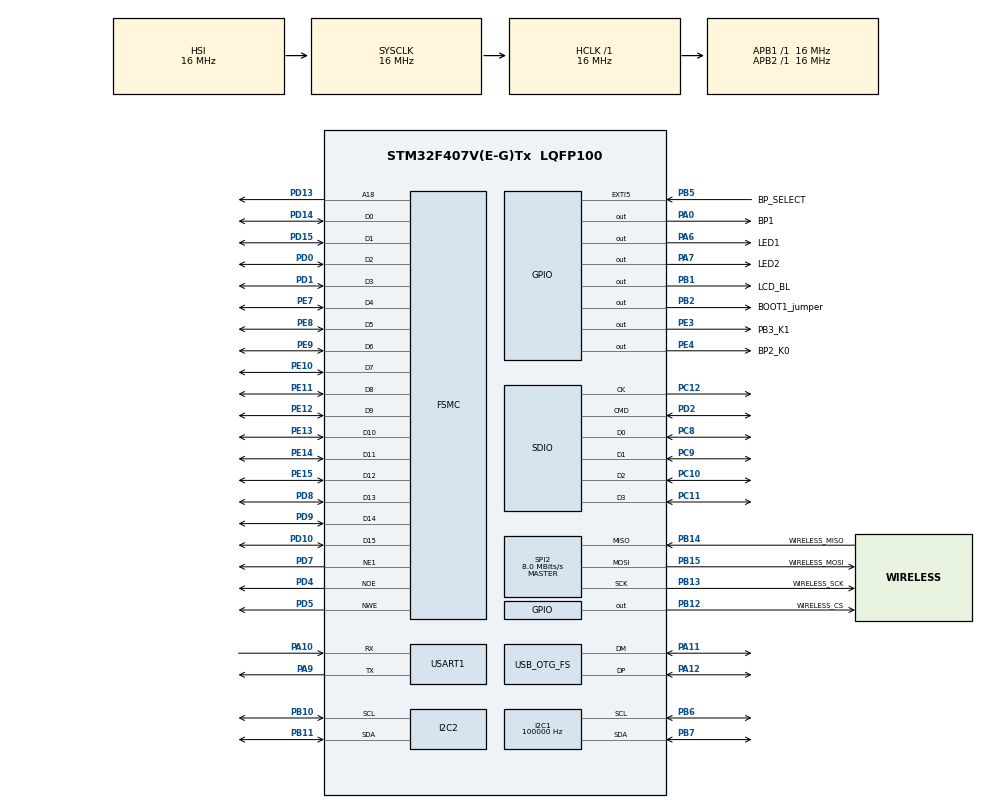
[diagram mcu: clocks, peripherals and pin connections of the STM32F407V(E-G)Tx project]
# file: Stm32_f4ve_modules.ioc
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FATFS.USE_DMA_CODE_SD=1
FREERTOS.Tasks01=Module_AM2320,24,128,Start_Module_AM2320,Default,NULL,Dynamic,NULL,NULL;Module_main,40,128,Start_Module_main,Default,NULL,Dynamic,NULL,NULL;Module_display,8,128,Start_Module_display,Default,NULL,Dynamic,NULL,NULL;Module_SMBUS,8,128,Start_Module_SMBUS,Default,NULL,Dynamic,NULL,NULL;Module_wireless,8,128,Start_Module_wireless,Default,NULL,Dynamic,NULL,NULL
FREERTOS.configUSE_NEWLIB_REENTRANT=1
I2C1.ClockSpeed=100000
Mcu.Family=STM32F4
Mcu.Name=STM32F407V(E-G)Tx
Mcu.Package=LQFP100
NVIC.EXTI9_5_IRQn=true\:5\:0\:false\:false\:true\:true\:true\:true\:true
NVIC.PriorityGroup=NVIC_PRIORITYGROUP_4
NVIC.SDIO_IRQn=true\:5\:0\:false\:false\:true\:true\:true\:true\:true
NVIC.TIM7_IRQn=true\:15\:0\:false\:false\:true\:false\:false\:true\:true
NVIC.TimeBase=TIM7_IRQn
NVIC.TimeBaseIP=TIM7
PA0-WKUP.GPIO_Label=BP1
PA0-WKUP.Signal=GPIO_Output
PA10.Mode=Asynchronous
PA10.Signal=USART1_RX
PA11.Mode=Device_Only
PA11.Signal=USB_OTG_FS_DM
PA12.Mode=Device_Only
PA12.Signal=USB_OTG_FS_DP
PA13.Mode=JTAG_5_pins
PA13.Signal=SYS_JTMS-SWDIO
PA14.Mode=JTAG_5_pins
PA14.Signal=SYS_JTCK-SWCLK
PA15.Mode=JTAG_5_pins
PA15.Signal=SYS_JTDI
PA6.GPIO_Label=LED1
PA6.Signal=GPIO_Output
PA7.GPIO_Label=LED2
PA7.Signal=GPIO_Output
PA9.Mode=Asynchronous
PA9.Signal=USART1_TX
PB1.GPIO_Label=LCD_BL
PB1.Signal=GPIO_Output
PB10.Mode=I2C
PB10.Signal=I2C2_SCL
PB11.Mode=I2C
PB11.Signal=I2C2_SDA
PB12.GPIO_Label=WIRELESS_CS
PB12.Signal=GPIO_Output
PB13.GPIO_Label=WIRELESS_SCK
PB13.Mode=Full_Duplex_Master
PB13.Signal=SPI2_SCK
PB14.GPIO_Label=WIRELESS_MISO
PB14.Mode=Full_Duplex_Master
PB14.Signal=SPI2_MISO
PB15.GPIO_Label=WIRELESS_MOSI
PB15.Mode=Full_Duplex_Master
PB15.Signal=SPI2_MOSI
PB2.GPIO_Label=BOOT1_jumper
PB2.Signal=GPIO_Output
PB3.Mode=JTAG_5_pins
PB3.Signal=SYS_JTDO-SWO
PB4.Mode=JTAG_5_pins
PB4.Signal=SYS_JTRST
PB5.GPIO_Label=BP_SELECT
PB5.GPIO_ModeDefaultEXTI=GPIO_MODE_IT_RISING
PB5.GPIO_PuPd=GPIO_PULLDOWN
PB5.Signal=GPXTI5
PB6.Mode=I2C
PB6.Signal=I2C1_SCL
PB7.Mode=I2C
PB7.Signal=I2C1_SDA
PC10.Mode=SD_4_bits_Wide_bus
PC10.Signal=SDIO_D2
PC11.Mode=SD_4_bits_Wide_bus
PC11.Signal=SDIO_D3
PC12.Mode=SD_4_bits_Wide_bus
PC12.Signal=SDIO_CK
PC14-OSC32_IN.Mode=LSE-External-Oscillator
PC14-OSC32_IN.Signal=RCC_OSC32_IN
PC15-OSC32_OUT.Mode=LSE-External-Oscillator
PC15-OSC32_OUT.Signal=RCC_OSC32_OUT
PC8.Mode=SD_4_bits_Wide_bus
PC8.Signal=SDIO_D0
PC9.Mode=SD_4_bits_Wide_bus
PC9.Signal=SDIO_D1
PD0.Mode=16b-d1
PD0.Signal=FSMC_D2
PD1.Mode=16b-d1
PD1.Signal=FSMC_D3
PD10.Mode=16b-d1
PD10.Signal=FSMC_D15
PD13.Mode=A18_1
PD13.Signal=FSMC_A18
PD14.Mode=16b-d1
PD14.Signal=FSMC_D0
PD15.Mode=16b-d1
PD15.Signal=FSMC_D1
PD2.Mode=SD_4_bits_Wide_bus
PD2.Signal=SDIO_CMD
PD4.Mode=Lcd1
PD4.Signal=FSMC_NOE
PD5.Mode=Lcd1
PD5.Signal=FSMC_NWE
PD7.Mode=NorPsramChipSelect1_1
PD7.Signal=FSMC_NE1
PD8.Mode=16b-d1
PD8.Signal=FSMC_D13
PD9.Mode=16b-d1
PD9.Signal=FSMC_D14
PE10.Mode=16b-d1
PE10.Signal=FSMC_D7
PE11.Mode=16b-d1
PE11.Signal=FSMC_D8
PE12.Mode=16b-d1
PE12.Signal=FSMC_D9
PE13.Mode=16b-d1
PE13.Signal=FSMC_D10
PE14.Mode=16b-d1
PE14.Signal=FSMC_D11
PE15.Mode=16b-d1
PE15.Signal=FSMC_D12
PE3.GPIO_Label=PB3_K1
PE3.Signal=GPIO_Output
PE4.GPIO_Label=BP2_K0
PE4.Signal=GPIO_Output
PE7.Mode=16b-d1
PE7.Signal=FSMC_D4
PE8.Mode=16b-d1
PE8.Signal=FSMC_D5
PE9.Mode=16b-d1
PE9.Signal=FSMC_D6
PH0-OSC_IN.Mode=HSE-External-Oscillator
PH0-OSC_IN.Signal=RCC_OSC_IN
PH1-OSC_OUT.Mode=HSE-External-Oscillator
PH1-OSC_OUT.Signal=RCC_OSC_OUT
ProjectManager.HeapSize=0x400
ProjectManager.StackSize=0x800
ProjectManager.TargetToolchain=STM32CubeIDE
RCC.48MHZClocksFreq_Value=48000000
RCC.AHBFreq_Value=16000000
RCC.APB1Freq_Value=16000000
RCC.APB2Freq_Value=16000000
RCC.CortexFreq_Value=16000000
RCC.HSE_VALUE=8000000
RCC.HSI_VALUE=16000000
RCC.PLLM=4
RCC.PLLN=72
RCC.PLLQ=3
RCC.SYSCLKFreq_VALUE=16000000
RCC.VCOOutputFreq_Value=144000000
SPI2.CalculateBaudRate=8.0 MBits/s
SPI2.Direction=SPI_DIRECTION_2LINES
SPI2.Mode=SPI_MODE_MASTER
SPI2.VirtualType=VM_MASTER
USART1.VirtualMode=VM_ASYNC
USB_OTG_FS.VirtualMode=Device_Only
VP_FATFS_VS_SDIO.Mode=SDIO
VP_FREERTOS_VS_CMSIS_V2.Mode=CMSIS_V2
VP_SYS_VS_tim7.Mode=TIM7
board=custom

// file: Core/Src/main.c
/* USER CODE BEGIN Header */
/**
  ******************************************************************************
  * @file           : main.c
  * @brief          : Main program body
  ******************************************************************************
  * @attention
  *
  * Copyright (c) 2024 STMicroelectronics.
  * All rights reserved.
  *
  * This software is licensed under terms that can be found in the LICENSE file
  * in the root directory of this software component.
  * If no LICENSE file comes with this software, it is provided AS-IS.
  *
  ******************************************************************************
  */
/* USER CODE END Header */
#include "main.h"
#include "cmsis_os.h"
#include "fatfs.h"

/* USER CODE BEGIN Includes */
#include "modules.h"
#include "hat_LCD.h"

#ifdef MODULE_AM2320_ENABLE
	#include "hat_AM2320.h"
#endif

#ifdef MODULE_SMBUS_ENABLE
	#include "SMBUS/hat_SMBUS.h"
#endif

#ifdef MODULE_WIRELESS_ENABLE
	#include "WIRELESS/hat_wireless.h"
#endif
/* USER CODE END Includes */

I2C_HandleTypeDef hi2c1;
I2C_HandleTypeDef hi2c2;

SD_HandleTypeDef hsd;

SPI_HandleTypeDef hspi2;

UART_HandleTypeDef huart1;

PCD_HandleTypeDef hpcd_USB_OTG_FS;

SRAM_HandleTypeDef hsram1;

/* Definitions for Module_AM2320 */
osThreadId_t Module_AM2320Handle;
const osThreadAttr_t Module_AM2320_attributes = {
  .name = "Module_AM2320",
  .stack_size = 128 * 4,
  .priority = (osPriority_t) osPriorityNormal,
};
/* Definitions for Module_main */
osThreadId_t Module_mainHandle;
const osThreadAttr_t Module_main_attributes = {
  .name = "Module_main",
  .stack_size = 128 * 4,
  .priority = (osPriority_t) osPriorityHigh,
};
/* Definitions for Module_display */
osThreadId_t Module_displayHandle;
const osThreadAttr_t Module_display_attributes = {
  .name = "Module_display",
  .stack_size = 128 * 4,
  .priority = (osPriority_t) osPriorityLow,
};
/* Definitions for Module_SMBUS */
osThreadId_t Module_SMBUSHandle;
const osThreadAttr_t Module_SMBUS_attributes = {
  .name = "Module_SMBUS",
  .stack_size = 128 * 4,
  .priority = (osPriority_t) osPriorityLow,
};
/* Definitions for Module_wireless */
osThreadId_t Module_wirelessHandle;
const osThreadAttr_t Module_wireless_attributes = {
  .name = "Module_wireless",
  .stack_size = 128 * 4,
  .priority = (osPriority_t) osPriorityLow,
};
/* USER CODE BEGIN PV */
uint8_t module_selected = 0;
uint8_t module_selected_change = 0;
Module_info_typedef hModule_info;

LCD_template_select LCD_template_selected;
module_list_enum active_module[MODULES_NUMBER];

#ifdef MODULE_AM2320_ENABLE
	AM2320_HandleTypeDef hAM2320;
#endif

#ifdef MODULE_SMBUS_ENABLE
	module_SMBUS_HandleTypeDef hSMBUS;
#endif

#ifdef MODULE_WIRELESS_ENABLE
	module_wireless_HandleTypeDef hwireless;
#endif
/* USER CODE END PV */

void SystemClock_Config(void);
static void MX_GPIO_Init(void);
static void MX_FSMC_Init(void);
static void MX_SDIO_SD_Init(void);
static void MX_USART1_UART_Init(void);
static void MX_USB_OTG_FS_PCD_Init(void);
static void MX_I2C1_Init(void);
static void MX_I2C2_Init(void);
static void MX_SPI2_Init(void);
void Start_Module_AM2320(void *argument);
void Start_Module_main(void *argument);
void Start_Module_display(void *argument);
void Start_Module_SMBUS(void *argument);
void Start_Module_wireless(void *argument);

int main(void)
{

  /* MCU Configuration--------------------------------------------------------*/

  /* Reset of all peripherals, Initializes the Flash interface and the Systick. */
  HAL_Init();

  /* Configure the system clock */
  SystemClock_Config();

  /* Initialize all configured peripherals */
  MX_GPIO_Init();
  MX_FSMC_Init();
  MX_SDIO_SD_Init();
  MX_USART1_UART_Init();
  MX_USB_OTG_FS_PCD_Init();
  MX_FATFS_Init();
  MX_I2C1_Init();
  MX_I2C2_Init();
  MX_SPI2_Init();
  /* USER CODE BEGIN 2 */

  module_init();
  hat_LCD_init();

  LCD_template_selected = LCD_TEMPLATE_A;

  #ifdef MODULE_AM2320_ENABLE
	  // Init module AM2320
	  hAM2320 = AM2320_driver_init(&hi2c1, AM2320_ADRESSE);
  #endif

  #ifdef MODULE_SMBUS_ENABLE
	  // Init module SMBUS
	  hSMBUS = hat_SMBUS_init(&hi2c2, MODULE_SMBUS_ADDRESS);
  #endif

  #ifdef MODULE_WIRELESS_ENABLE
	  // Init module SMBUS
	  hwireless = hat_wireless_init(&hspi2, WIRELESS_NRF24L01, WIRELESS_CS_GPIO_Port, WIRELESS_CS_Pin, 8);
  #endif
  /* USER CODE END 2 */

  /* Init scheduler */
  osKernelInitialize();

  /* Create the thread(s) */
  /* creation of Module_AM2320 */
  Module_AM2320Handle = osThreadNew(Start_Module_AM2320, NULL, &Module_AM2320_attributes);

  /* creation of Module_main */
  Module_mainHandle = osThreadNew(Start_Module_main, NULL, &Module_main_attributes);

  /* creation of Module_display */
  Module_displayHandle = osThreadNew(Start_Module_display, NULL, &Module_display_attributes);

  /* creation of Module_SMBUS */
  Module_SMBUSHandle = osThreadNew(Start_Module_SMBUS, NULL, &Module_SMBUS_attributes);

  /* creation of Module_wireless */
  Module_wirelessHandle = osThreadNew(Start_Module_wireless, NULL, &Module_wireless_attributes);

  /* Start scheduler */
  osKernelStart();
  /* We should never get here as control is now taken by the scheduler */
  /* Infinite loop */
  while (1)
  {

  }
}

void SystemClock_Config(void)
{
  RCC_OscInitTypeDef RCC_OscInitStruct = {0};
  RCC_ClkInitTypeDef RCC_ClkInitStruct = {0};

  /** Configure the main internal regulator output voltage
  */
  __HAL_RCC_PWR_CLK_ENABLE();
  __HAL_PWR_VOLTAGESCALING_CONFIG(PWR_REGULATOR_VOLTAGE_SCALE1);

  /** Initializes the RCC Oscillators according to the specified parameters
  * in the RCC_OscInitTypeDef structure.
  */
  RCC_OscInitStruct.OscillatorType = RCC_OSCILLATORTYPE_HSI|RCC_OSCILLATORTYPE_HSE;
  RCC_OscInitStruct.HSEState = RCC_HSE_ON;
  RCC_OscInitStruct.HSIState = RCC_HSI_ON;
  RCC_OscInitStruct.HSICalibrationValue = RCC_HSICALIBRATION_DEFAULT;
  RCC_OscInitStruct.PLL.PLLState = RCC_PLL_ON;
  RCC_OscInitStruct.PLL.PLLSource = RCC_PLLSOURCE_HSE;
  RCC_OscInitStruct.PLL.PLLM = 4;
  RCC_OscInitStruct.PLL.PLLN = 72;
  RCC_OscInitStruct.PLL.PLLP = RCC_PLLP_DIV2;
  RCC_OscInitStruct.PLL.PLLQ = 3;
  if (HAL_RCC_OscConfig(&RCC_OscInitStruct) != HAL_OK)
  {
    Error_Handler();
  }

  /** Initializes the CPU, AHB and APB buses clocks
  */
  RCC_ClkInitStruct.ClockType = RCC_CLOCKTYPE_HCLK|RCC_CLOCKTYPE_SYSCLK
                              |RCC_CLOCKTYPE_PCLK1|RCC_CLOCKTYPE_PCLK2;
  RCC_ClkInitStruct.SYSCLKSource = RCC_SYSCLKSOURCE_HSI;
  RCC_ClkInitStruct.AHBCLKDivider = RCC_SYSCLK_DIV1;
  RCC_ClkInitStruct.APB1CLKDivider = RCC_HCLK_DIV1;
  RCC_ClkInitStruct.APB2CLKDivider = RCC_HCLK_DIV1;

  if (HAL_RCC_ClockConfig(&RCC_ClkInitStruct, FLASH_LATENCY_0) != HAL_OK)
  {
    Error_Handler();
  }
}

static void MX_I2C1_Init(void)
{

  hi2c1.Instance = I2C1;
  hi2c1.Init.ClockSpeed = 100000;
  hi2c1.Init.DutyCycle = I2C_DUTYCYCLE_2;
  hi2c1.Init.OwnAddress1 = 0;
  hi2c1.Init.AddressingMode = I2C_ADDRESSINGMODE_7BIT;
  hi2c1.Init.DualAddressMode = I2C_DUALADDRESS_DISABLE;
  hi2c1.Init.OwnAddress2 = 0;
  hi2c1.Init.GeneralCallMode = I2C_GENERALCALL_DISABLE;
  hi2c1.Init.NoStretchMode = I2C_NOSTRETCH_DISABLE;
  if (HAL_I2C_Init(&hi2c1) != HAL_OK)
  {
    Error_Handler();
  }

}

static void MX_I2C2_Init(void)
{

  hi2c2.Instance = I2C2;
  hi2c2.Init.ClockSpeed = 100000;
  hi2c2.Init.DutyCycle = I2C_DUTYCYCLE_2;
  hi2c2.Init.OwnAddress1 = 0;
  hi2c2.Init.AddressingMode = I2C_ADDRESSINGMODE_7BIT;
  hi2c2.Init.DualAddressMode = I2C_DUALADDRESS_DISABLE;
  hi2c2.Init.OwnAddress2 = 0;
  hi2c2.Init.GeneralCallMode = I2C_GENERALCALL_DISABLE;
  hi2c2.Init.NoStretchMode = I2C_NOSTRETCH_DISABLE;
  if (HAL_I2C_Init(&hi2c2) != HAL_OK)
  {
    Error_Handler();
  }

}

static void MX_SDIO_SD_Init(void)
{

  hsd.Instance = SDIO;
  hsd.Init.ClockEdge = SDIO_CLOCK_EDGE_RISING;
  hsd.Init.ClockBypass = SDIO_CLOCK_BYPASS_DISABLE;
  hsd.Init.ClockPowerSave = SDIO_CLOCK_POWER_SAVE_DISABLE;
  hsd.Init.BusWide = SDIO_BUS_WIDE_4B;
  hsd.Init.HardwareFlowControl = SDIO_HARDWARE_FLOW_CONTROL_DISABLE;
  hsd.Init.ClockDiv = 0;

}

static void MX_SPI2_Init(void)
{

  /* SPI2 parameter configuration*/
  hspi2.Instance = SPI2;
  hspi2.Init.Mode = SPI_MODE_MASTER;
  hspi2.Init.Direction = SPI_DIRECTION_2LINES;
  hspi2.Init.DataSize = SPI_DATASIZE_8BIT;
  hspi2.Init.CLKPolarity = SPI_POLARITY_LOW;
  hspi2.Init.CLKPhase = SPI_PHASE_1EDGE;
  hspi2.Init.NSS = SPI_NSS_SOFT;
  hspi2.Init.BaudRatePrescaler = SPI_BAUDRATEPRESCALER_2;
  hspi2.Init.FirstBit = SPI_FIRSTBIT_MSB;
  hspi2.Init.TIMode = SPI_TIMODE_DISABLE;
  hspi2.Init.CRCCalculation = SPI_CRCCALCULATION_DISABLE;
  hspi2.Init.CRCPolynomial = 10;
  if (HAL_SPI_Init(&hspi2) != HAL_OK)
  {
    Error_Handler();
  }

}

static void MX_USART1_UART_Init(void)
{

  huart1.Instance = USART1;
  huart1.Init.BaudRate = 115200;
  huart1.Init.WordLength = UART_WORDLENGTH_8B;
  huart1.Init.StopBits = UART_STOPBITS_1;
  huart1.Init.Parity = UART_PARITY_NONE;
  huart1.Init.Mode = UART_MODE_TX_RX;
  huart1.Init.HwFlowCtl = UART_HWCONTROL_NONE;
  huart1.Init.OverSampling = UART_OVERSAMPLING_16;
  if (HAL_UART_Init(&huart1) != HAL_OK)
  {
    Error_Handler();
  }

}

static void MX_USB_OTG_FS_PCD_Init(void)
{

  hpcd_USB_OTG_FS.Instance = USB_OTG_FS;
  hpcd_USB_OTG_FS.Init.dev_endpoints = 4;
  hpcd_USB_OTG_FS.Init.speed = PCD_SPEED_FULL;
  hpcd_USB_OTG_FS.Init.dma_enable = DISABLE;
  hpcd_USB_OTG_FS.Init.phy_itface = PCD_PHY_EMBEDDED;
  hpcd_USB_OTG_FS.Init.Sof_enable = DISABLE;
  hpcd_USB_OTG_FS.Init.low_power_enable = DISABLE;
  hpcd_USB_OTG_FS.Init.lpm_enable = DISABLE;
  hpcd_USB_OTG_FS.Init.vbus_sensing_enable = DISABLE;
  hpcd_USB_OTG_FS.Init.use_dedicated_ep1 = DISABLE;
  if (HAL_PCD_Init(&hpcd_USB_OTG_FS) != HAL_OK)
  {
    Error_Handler();
  }

}

static void MX_GPIO_Init(void)
{
  GPIO_InitTypeDef GPIO_InitStruct = {0};

  /* GPIO Ports Clock Enable */
  __HAL_RCC_GPIOE_CLK_ENABLE();
  __HAL_RCC_GPIOC_CLK_ENABLE();
  __HAL_RCC_GPIOH_CLK_ENABLE();
  __HAL_RCC_GPIOA_CLK_ENABLE();
  __HAL_RCC_GPIOB_CLK_ENABLE();
  __HAL_RCC_GPIOD_CLK_ENABLE();

  /*Configure GPIO pin Output Level */
  HAL_GPIO_WritePin(GPIOE, PB3_K1_Pin|BP2_K0_Pin, GPIO_PIN_RESET);

  /*Configure GPIO pin Output Level */
  HAL_GPIO_WritePin(GPIOA, BP1_Pin|LED1_Pin|LED2_Pin, GPIO_PIN_RESET);

  /*Configure GPIO pin Output Level */
  HAL_GPIO_WritePin(GPIOB, LCD_BL_Pin|BOOT1_jumper_Pin|WIRELESS_CS_Pin, GPIO_PIN_RESET);

  /*Configure GPIO pins : PB3_K1_Pin BP2_K0_Pin */
  GPIO_InitStruct.Pin = PB3_K1_Pin|BP2_K0_Pin;
  GPIO_InitStruct.Mode = GPIO_MODE_OUTPUT_PP;
  GPIO_InitStruct.Pull = GPIO_NOPULL;
  GPIO_InitStruct.Speed = GPIO_SPEED_FREQ_LOW;
  HAL_GPIO_Init(GPIOE, &GPIO_InitStruct);

  /*Configure GPIO pins : BP1_Pin LED1_Pin LED2_Pin */
  GPIO_InitStruct.Pin = BP1_Pin|LED1_Pin|LED2_Pin;
  GPIO_InitStruct.Mode = GPIO_MODE_OUTPUT_PP;
  GPIO_InitStruct.Pull = GPIO_NOPULL;
  GPIO_InitStruct.Speed = GPIO_SPEED_FREQ_LOW;
  HAL_GPIO_Init(GPIOA, &GPIO_InitStruct);

  /*Configure GPIO pins : LCD_BL_Pin BOOT1_jumper_Pin WIRELESS_CS_Pin */
  GPIO_InitStruct.Pin = LCD_BL_Pin|BOOT1_jumper_Pin|WIRELESS_CS_Pin;
  GPIO_InitStruct.Mode = GPIO_MODE_OUTPUT_PP;
  GPIO_InitStruct.Pull = GPIO_NOPULL;
  GPIO_InitStruct.Speed = GPIO_SPEED_FREQ_LOW;
  HAL_GPIO_Init(GPIOB, &GPIO_InitStruct);

  /*Configure GPIO pin : BP_SELECT_Pin */
  GPIO_InitStruct.Pin = BP_SELECT_Pin;
  GPIO_InitStruct.Mode = GPIO_MODE_IT_RISING;
  GPIO_InitStruct.Pull = GPIO_PULLDOWN;
  HAL_GPIO_Init(BP_SELECT_GPIO_Port, &GPIO_InitStruct);

  /* EXTI interrupt init*/
  HAL_NVIC_SetPriority(EXTI9_5_IRQn, 5, 0);
  HAL_NVIC_EnableIRQ(EXTI9_5_IRQn);

}

/* FSMC initialization function */
static void MX_FSMC_Init(void)
{

  FSMC_NORSRAM_TimingTypeDef Timing = {0};

  /** Perform the SRAM1 memory initialization sequence
  */
  hsram1.Instance = FSMC_NORSRAM_DEVICE;
  hsram1.Extended = FSMC_NORSRAM_EXTENDED_DEVICE;
  /* hsram1.Init */
  hsram1.Init.NSBank = FSMC_NORSRAM_BANK1;
  hsram1.Init.DataAddressMux = FSMC_DATA_ADDRESS_MUX_DISABLE;
  hsram1.Init.MemoryType = FSMC_MEMORY_TYPE_SRAM;
  hsram1.Init.MemoryDataWidth = FSMC_NORSRAM_MEM_BUS_WIDTH_16;
  hsram1.Init.BurstAccessMode = FSMC_BURST_ACCESS_MODE_DISABLE;
  hsram1.Init.WaitSignalPolarity = FSMC_WAIT_SIGNAL_POLARITY_LOW;
  hsram1.Init.WrapMode = FSMC_WRAP_MODE_DISABLE;
  hsram1.Init.WaitSignalActive = FSMC_WAIT_TIMING_BEFORE_WS;
  hsram1.Init.WriteOperation = FSMC_WRITE_OPERATION_ENABLE;
  hsram1.Init.WaitSignal = FSMC_WAIT_SIGNAL_DISABLE;
  hsram1.Init.ExtendedMode = FSMC_EXTENDED_MODE_DISABLE;
  hsram1.Init.AsynchronousWait = FSMC_ASYNCHRONOUS_WAIT_DISABLE;
  hsram1.Init.WriteBurst = FSMC_WRITE_BURST_DISABLE;
  hsram1.Init.PageSize = FSMC_PAGE_SIZE_NONE;
  /* Timing */
  Timing.AddressSetupTime = 15;
  Timing.AddressHoldTime = 15;
  Timing.DataSetupTime = 255;
  Timing.BusTurnAroundDuration = 15;
  Timing.CLKDivision = 16;
  Timing.DataLatency = 17;
  Timing.AccessMode = FSMC_ACCESS_MODE_A;
  /* ExtTiming */

  if (HAL_SRAM_Init(&hsram1, &Timing, NULL) != HAL_OK)
  {
    Error_Handler( );
  }

}

/* USER CODE BEGIN 4 */
void HAL_GPIO_EXTI_Callback(uint16_t GPIO_Pin)
{
  module_selected_change = 1;
  if(GPIO_Pin == GPIO_PIN_5) {
	if(module_selected < MODULES_NUMBER - 1)
	{
		module_selected++;
	}
	else
	{
		module_selected = 0;
	}
  } else {
      __NOP();
  }
}
/* USER CODE END 4 */

void Start_Module_AM2320(void *argument)
{
  /* USER CODE BEGIN 5 */
  #ifdef MODULE_AM2320_ENABLE
	  // Send blanc request
	  AM2320_driver_get_blanc_data(&hAM2320);

	  /* Infinite loop */
	  for(;;)
	  {
		osDelay(MODULE_AM2320_TIMER_MS);
		AM2320_get_temperature(&hAM2320);
		osDelay(10);
		AM2320_get_humidity(&hAM2320);
	  }
  #endif
  /* USER CODE END 5 */
}

void Start_Module_main(void *argument)
{
  for(;;)
  {
    osDelay(1);
  }
}

void Start_Module_display(void *argument)
{
  /* USER CODE BEGIN Start_Module_display */
  /* Infinite loop */
  for(;;)
  {
    osDelay(LCD_REFRESH_RATE);

    if(module_selected_change)
    {
    	lcdFillRGB(COLOR_BLACK);
    	module_selected_change = 0;
    }

    switch (active_module[module_selected]) {
    	// module AM2320
		case MODULE_AM2320:
			AM2320_set_module_info(&hAM2320, &hModule_info);
			hat_LCD_display(&hModule_info, LCD_template_selected);
			break;
		default:
			break;
	}

  }
  /* USER CODE END Start_Module_display */
}

void Start_Module_SMBUS(void *argument)
{
  for(;;)
  {
    osDelay(1);
  }
}

void Start_Module_wireless(void *argument)
{
  /* USER CODE BEGIN Start_Module_wireless */
  /* Infinite loop */
  #ifdef MODULE_WIRELESS_ENABLE
	  /* Infinite loop */
	  for(;;)
	  {
		osDelay(MODULE_WIRELESS_TIMER_MS);
	  }
  #endif
  /* USER CODE END Start_Module_wireless */
}

void HAL_TIM_PeriodElapsedCallback(TIM_HandleTypeDef *htim)
{
  if (htim->Instance == TIM7) {
    HAL_IncTick();
  }
}

void Error_Handler(void)
{
  __disable_irq();
  while (1)
  {
  }
}
